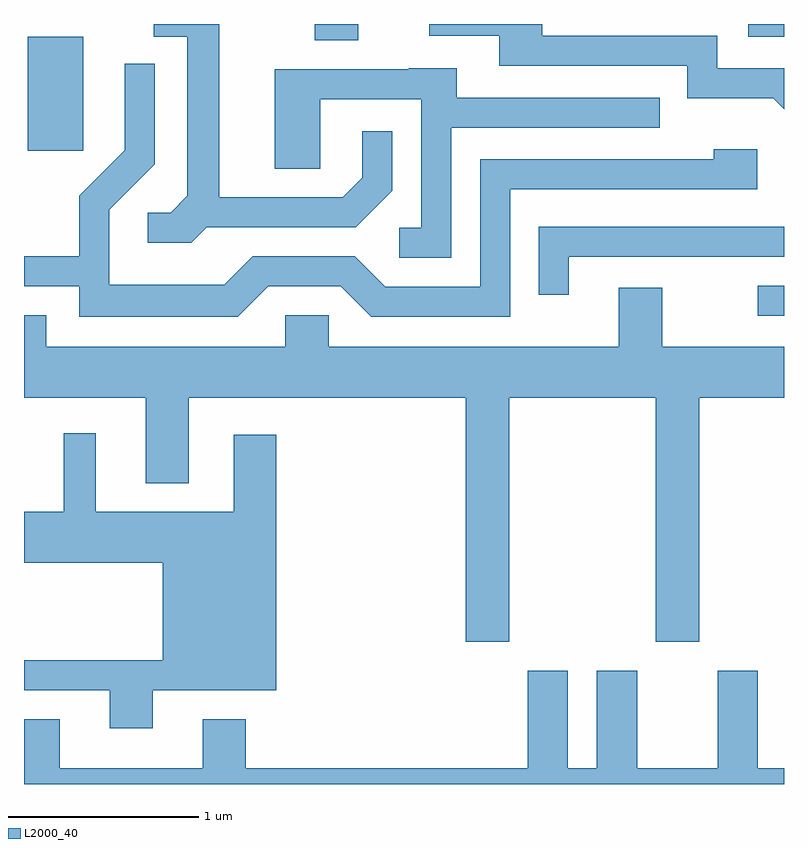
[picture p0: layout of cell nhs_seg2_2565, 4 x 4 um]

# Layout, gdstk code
import gdstk
lib = gdstk.Library(unit=1e-6, precision=1e-09)
def R(c, l, rs):  # rectangles x0, y0, x1, y1
    for r in rs: c.add(gdstk.rectangle(r[:2], r[2:], *l))
def P(c, l, *ps):  # polygons
    for p in ps: c.add(gdstk.Polygon(p, *l))
L2000_40 = (2000, 40)

nhs_seg2_2565 = lib.new_cell('nhs_seg2_2565')
R(nhs_seg2_2565, L2000_40, [(263.473,1084.266,263.611,1084.424), (259.631,1085.136,259.924,1085.734), (261.141,1085.716,261.369,1085.802), (263.423,1085.736,263.611,1085.802)])
P(nhs_seg2_2565, L2000_40, [(260.572,1084.731),(261.356,1084.731),(261.549,1084.924),(261.549,1085.238),(261.391,1085.238),(261.391,1084.992),(261.289,1084.889),(260.639,1084.889),(260.639,1085.802),(260.293,1085.802),(260.293,1085.736),(260.471,1085.736),(260.471,1084.897),(260.384,1084.809),(260.263,1084.809),(260.263,1084.651),(260.492,1084.651)],
  [(263.611,1085.569),(263.259,1085.569),(263.259,1085.739),(262.339,1085.739),(262.339,1085.802),(261.743,1085.802),(261.743,1085.741),(262.111,1085.741),(262.111,1085.581),(263.101,1085.581),(263.101,1085.411),(263.554,1085.411),(263.611,1085.354)],
  [(260.897,1084.421),(261.279,1084.421),(261.439,1084.261),(262.169,1084.261),(262.169,1084.931),(263.469,1084.931),(263.469,1085.144),(263.241,1085.144),(263.241,1085.089),(262.011,1085.089),(262.011,1084.419),(261.512,1084.419),(261.352,1084.579),(260.814,1084.579),(260.664,1084.429),(260.059,1084.429),(260.059,1084.824),(260.299,1085.064),(260.299,1085.593),(260.141,1085.593),(260.141,1085.137),(259.901,1084.897),(259.901,1084.579),(259.611,1084.579),(259.611,1084.421),(259.901,1084.421),(259.901,1084.261),(260.736,1084.261)],
  [(261.859,1085.256),(262.958,1085.256),(262.958,1085.414),(261.889,1085.414),(261.889,1085.569),(261.635,1085.569),(261.635,1085.564),(260.931,1085.564),(260.931,1085.041),(261.169,1085.041),(261.169,1085.406),(261.701,1085.406),(261.701,1084.729),(261.587,1084.729),(261.587,1084.571),(261.859,1084.571)],
  [(262.479,1084.576),(263.611,1084.576),(263.611,1084.734),(262.321,1084.734),(262.321,1084.378),(262.479,1084.378)],
  [(262.164,1083.836),(262.936,1083.836),(262.936,1082.551),(263.164,1082.551),(263.164,1083.836),(263.611,1083.836),(263.611,1084.104),(262.969,1084.104),(262.969,1084.414),(262.741,1084.414),(262.741,1084.104),(261.214,1084.104),(261.214,1084.269),(260.986,1084.269),(260.986,1084.104),(259.729,1084.104),(259.729,1084.269),(259.611,1084.269),(259.611,1083.836),(260.251,1083.836),(260.251,1083.386),(260.479,1083.386),(260.479,1083.836),(261.936,1083.836),(261.936,1082.551),(262.164,1082.551)],
  [(260.289,1082.296),(260.939,1082.296),(260.939,1083.639),(260.716,1083.639),(260.716,1083.234),(259.989,1083.234),(259.989,1083.648),(259.821,1083.648),(259.821,1083.234),(259.611,1083.234),(259.611,1082.966),(260.341,1082.966),(260.341,1082.454),(259.611,1082.454),(259.611,1082.296),(260.061,1082.296),(260.061,1082.096),(260.289,1082.096)],
  [(263.611,1081.884),(263.474,1081.884),(263.474,1082.399),(263.261,1082.399),(263.261,1081.884),(262.839,1081.884),(262.839,1082.399),(262.626,1082.399),(262.626,1081.884),(262.474,1081.884),(262.474,1082.399),(262.261,1082.399),(262.261,1081.884),(260.779,1081.884),(260.779,1082.144),(260.551,1082.144),(260.551,1081.884),(259.799,1081.884),(259.799,1082.144),(259.611,1082.144),(259.611,1081.802),(263.611,1081.802)])

lib.write_gds('nhs_seg2_2565.gds')
